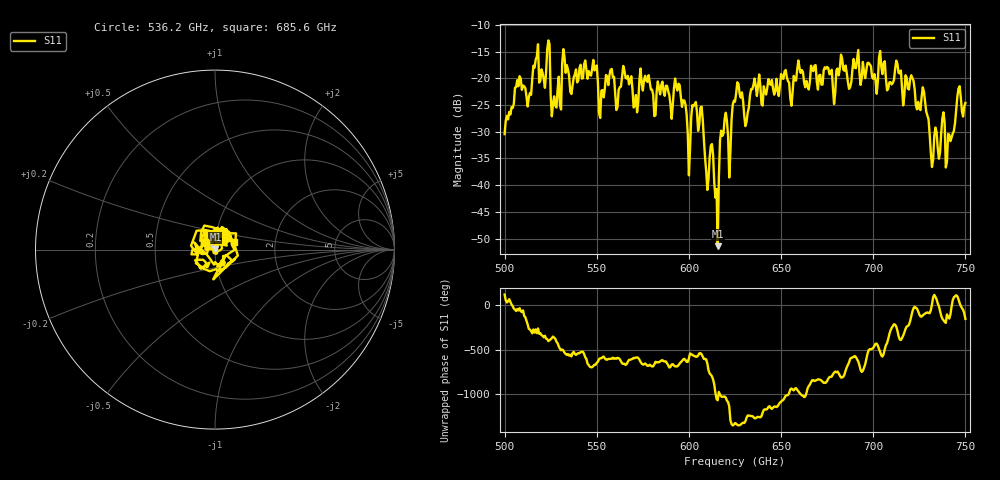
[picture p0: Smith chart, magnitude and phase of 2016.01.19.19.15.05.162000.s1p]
!Created with skrf (http://scikit-rf.org).
# GHz S RI R 50.0
!freq ReS11 ImS11
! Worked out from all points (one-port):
!   401 points, 500 GHz to 750 GHz, reference 50 ohm
!   lowest |S11| = -51.4 dB at 615.6 GHz (marker M1), VSWR 1.01, Z = 50.3 + j0.0647 ohm
!   |S11| at or under -10 dB: start of sweep to end of sweep
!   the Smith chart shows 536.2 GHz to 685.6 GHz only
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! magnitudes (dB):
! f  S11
! 500 GHz  -30.4
! 507.5 GHz  -21.5
! 513.1 GHz  -23.6
! 516.9 GHz  -16.5
! 523.8 GHz  -12.9
! 526.9 GHz  -23.4
! 531.2 GHz  -17.1
! 562.5 GHz  -21.7
! 593.8 GHz  -22.3
! 600 GHz  -38.1
! 602.5 GHz  -25.2
! 606.9 GHz  -25.3
! 609.4 GHz  -37.4
! 612.5 GHz  -32.3
! 615.6 GHz  -51.4
! 618.1 GHz  -30.8
! 621.9 GHz  -38.6
! 625 GHz  -24.4
! 631.2 GHz  -28.2
! 635 GHz  -21.3
! 656.2 GHz  -22.7
! 660 GHz  -18.0
! 687.5 GHz  -21.6
! 690.6 GHz  -18.1
! 718.8 GHz  -21.9
! 727.5 GHz  -22.5
! 731.9 GHz  -36.6
! 750 GHz  -24.6
